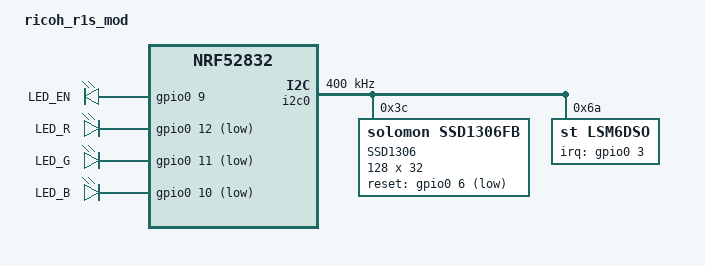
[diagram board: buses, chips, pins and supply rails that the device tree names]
// Copyright (c) 2023 Nordic Semiconductor ASA
// SPDX-License-Identifier: Apache-2.0

/dts-v1/;
#include <nordic/nrf52832_qfaa.dtsi>
#include "ricoh_r1s_mod-pinctrl.dtsi"

/ {
	model = "ricoh_r1s_mod";
	compatible = "nikolozka,ricoh-r1s-mod";

	chosen {
		zephyr,sram = &sram0;
		zephyr,flash = &flash0;
		zephyr,code-partition = &slot0_partition;
	};


	leds {
		compatible = "gpio-leds";
		led0: led_0 {
			gpios = <&gpio0 9 GPIO_ACTIVE_HIGH>;
			label = "LED_EN";
		};
		led1: led_1 {
			gpios = <&gpio0 12 GPIO_ACTIVE_LOW>;
			label = "LED_R";
		};
		led2: led_2 {
			gpios = <&gpio0 11 GPIO_ACTIVE_LOW>;
			label = "LED_G";
		};
		led3: led_3 {
			gpios = <&gpio0 10 GPIO_ACTIVE_LOW>;
			label = "LED_B";
		};
	};

	/*pwmleds {
		compatible = "pwm-leds";

		red_pwm_led: red_pwm_led {
			pwms = <&gpio0 12 15625000 PWM_POLARITY_INVERTED>;
		};
		green_pwm_led: green_pwm_led {
			pwms = <&gpio0 11 15625000 PWM_POLARITY_INVERTED>;
		};
		blue_pwm_led: blue_pwm_led {
			pwms = <&gpio0 10 15625000 PWM_POLARITY_INVERTED>;
		};
	};*/
};

arduino_i2c: &i2c0 {
	compatible = "nordic,nrf-twi";
	//zephyr,concat-buf-size = <2048>;                                                      
	status = "okay";
	clock-frequency = <I2C_BITRATE_FAST>;
	pinctrl-0 = <&i2c0_default>;
	pinctrl-1 = <&i2c0_sleep>;
	pinctrl-names = "default", "sleep";

    ssd1306: ssd1306@3c {
        compatible = "solomon,ssd1306fb";
		status = "okay";
		label = "SSD1306";
		reset-gpios = <&gpio0 6 (GPIO_ACTIVE_LOW)>;
        reg = <0x3c>;
        height = <32>;
        width  = <128>;
        segment-offset  = <0>;
        page-offset     = <0>;
        display-offset  = <0>;
        multiplex-ratio = <31>;
        prechargep      = <0xD1>;
        segment-remap;
        com-invdir;
		com-sequential;

    };

	lsmdso: lsm6dso@6a {
        compatible = "st,lsm6dso";
		status = "okay";
		label = "LSM6DSO";
        reg = <0x6a>;
		irq-gpios = <&gpio0 3 GPIO_ACTIVE_HIGH>;
    };
};

&gpio0 {
	status = "okay";
};

&gpiote {
	status = "okay";
};

&spi0 {
	status = "disabled";
};

&flash0 {
	partitions {
		compatible = "fixed-partitions";
		#address-cells = <1>;
		#size-cells = <1>;

		boot_partition: partition@0 {
			label = "mcuboot";
			reg = <0x0 0xc000>;
		};
		slot0_partition: partition@c000 {
			label = "image-0";
			reg = <0xc000 0x37000>;
		};
		slot1_partition: partition@43000 {
			label = "image-1";
			reg = <0x43000 0x37000>;
		};
		/*scratch_partition: partition@70000 {
			label = "image-scratch";
			reg = <0x70000 0xa000>;
		};*/
		storage_partition: partition@7a000 {
			label = "storage";
			reg = <0x7a000 0x6000>;
		};
	};
};

